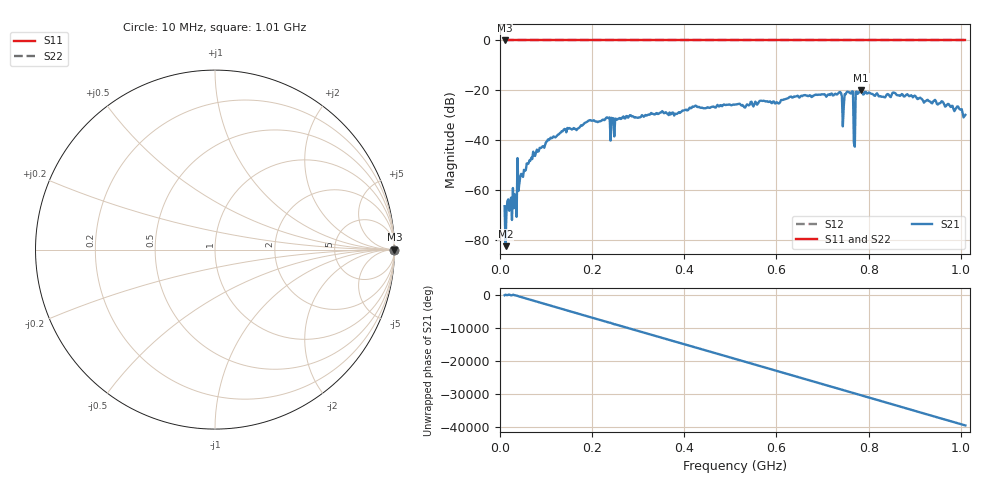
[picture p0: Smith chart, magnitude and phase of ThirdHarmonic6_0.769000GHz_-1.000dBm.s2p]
! 8/16/2025 1:41:55 AM
! C:\ANRITSUVNA\TEMP\TEMP.S2P
! CHANNEL.1
! TR.MEASUREMENT
! RAW.DATA
! RF.CORRECTION.OFF
! AVERAGING.OFF
! IF.BANDWIDTH: 5KHZ
! SWEEPTYPE:  FREQ.SWEEP(Linear)
! Reference Plane Port Info
! PORT:  PORT1  PORT2
! DISTANCE:  0  m  0  m
! TIME:  0  s  0  s
! PHASE.OFFSET:  0  deg.  0  deg.
! LOSS:  0  dB  0  dB
! REF.LOSS:  0  dB  0  dB
! REF.FREQ:  0  Hz  0  Hz
! Power Info
! POWER:  -20  dBm  -20  dBm
! EFF.POWER:  -20  dBm  -20  dBm
! SOURCE.ATTEN:  0  dB  0  dB
! TEST.ATTEN:  0  dB  0  dB
# GHZ S RI R 50.0
! FREQ.GHZ  S11RE  S11IM  S21RE  S21IM  S12RE  S12IM  S22RE  S22IM
!; PortSelection: Port_12
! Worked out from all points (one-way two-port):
!   501 points, 10 MHz to 1.01 GHz, reference 50 ohm
!   highest |S21| = -19.90 dB at 784 MHz (marker M1); lowest = -82.5 dB at 12 MHz (marker M2)
!   lowest |S11| = 0.0 dB at 10 MHz (marker M3)
!   |S11| at or under -10 dB: nowhere
!   |S22| runs from 0.0 to 0.0 dB; largest |S21 - S12| = 1.1
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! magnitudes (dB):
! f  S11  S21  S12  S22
! 10 MHz  0.0  -66.5  0.0  0.0
! 12 MHz  0.0  -82.5  0.0  0.0
! 32 MHz  0.0  -61.7  0.0  0.0
! 42 MHz  0.0  -57.3  0.0  0.0
! 76 MHz  0.0  -46.3  0.0  0.0
! 138 MHz  0.0  -35.8  0.0  0.0
! 178 MHz  0.0  -34.2  0.0  0.0
! 244 MHz  0.0  -31.3  0.0  0.0
! 344 MHz  0.0  -29.5  0.0  0.0
! 510 MHz  0.0  -25.8  0.0  0.0
! 678 MHz  0.0  -22.5  0.0  0.0
! 736 MHz  0.0  -20.8  0.0  0.0
! 746 MHz  0.0  -26.7  0.0  0.0
! 752 MHz  0.0  -20.8  0.0  0.0
! 762 MHz  0.0  -21.3  0.0  0.0
! 766 MHz  0.0  -20.5  0.0  0.0
! 772 MHz  0.0  -20.7  0.0  0.0
! 776 MHz  0.0  -21.4  0.0  0.0
! 784 MHz  0.0  -19.9  0.0  0.0
! 844 MHz  0.0  -21.8  0.0  0.0
! 960 MHz  0.0  -24.4  0.0  0.0
! 1.01 GHz  0.0  -29.8  0.0  0.0
